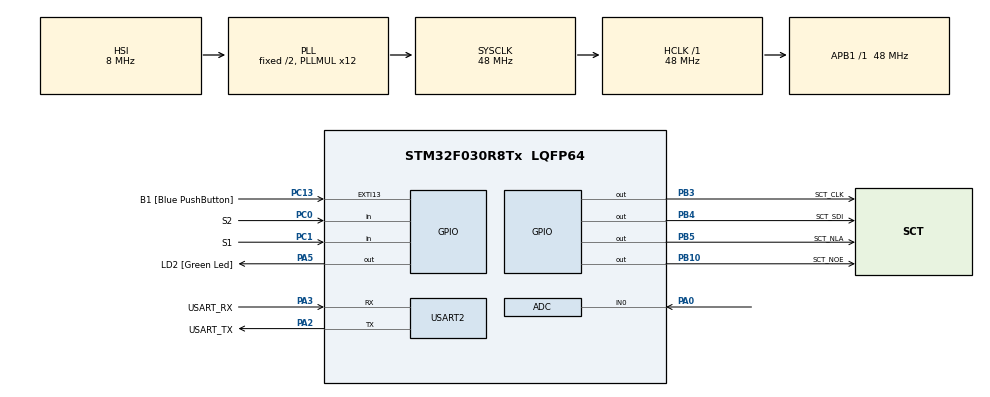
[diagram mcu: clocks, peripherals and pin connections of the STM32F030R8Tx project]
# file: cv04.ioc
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ADC.ContinuousConvMode=ENABLE
ADC.Overrun=ADC_OVR_DATA_OVERWRITTEN
ADC.SamplingTime=ADC_SAMPLETIME_239CYCLES_5
Mcu.Family=STM32F0
Mcu.Name=STM32F030R8Tx
Mcu.Package=LQFP64
NVIC.ADC1_IRQn=true\:0\:0\:false\:false\:true\:true\:true\:true
PA0.Mode=IN0
PA0.Signal=ADC_IN0
PA13.GPIO_Label=TMS
PA13.Mode=Serial_Wire
PA13.Signal=SYS_SWDIO
PA14.GPIO_Label=TCK
PA14.Mode=Serial_Wire
PA14.Signal=SYS_SWCLK
PA2.GPIO_Label=USART_TX
PA2.GPIO_Mode=GPIO_MODE_AF_PP
PA2.GPIO_PuPd=GPIO_NOPULL
PA2.GPIO_Speed=GPIO_SPEED_FREQ_LOW
PA2.Mode=Asynchronous
PA2.Signal=USART2_TX
PA3.GPIO_Label=USART_RX
PA3.GPIO_Mode=GPIO_MODE_AF_PP
PA3.GPIO_PuPd=GPIO_NOPULL
PA3.GPIO_Speed=GPIO_SPEED_FREQ_LOW
PA3.Mode=Asynchronous
PA3.Signal=USART2_RX
PA5.GPIO_Label=LD2 [Green Led]
PA5.GPIO_Mode=GPIO_MODE_OUTPUT_PP
PA5.GPIO_PuPd=GPIO_NOPULL
PA5.GPIO_Speed=GPIO_SPEED_FREQ_LOW
PA5.Signal=GPIO_Output
PB10.GPIO_Label=SCT_NOE
PB10.Signal=GPIO_Output
PB3.GPIO_Label=SCT_CLK
PB3.Signal=GPIO_Output
PB4.GPIO_Label=SCT_SDI
PB4.Signal=GPIO_Output
PB5.GPIO_Label=SCT_NLA
PB5.Signal=GPIO_Output
PC0.GPIO_Label=S2
PC0.GPIO_PuPd=GPIO_PULLUP
PC0.Signal=GPIO_Input
PC1.GPIO_Label=S1
PC1.GPIO_PuPd=GPIO_PULLUP
PC1.Signal=GPIO_Input
PC13.GPIO_Label=B1 [Blue PushButton]
PC13.GPIO_ModeDefaultEXTI=GPIO_MODE_IT_FALLING
PC13.Signal=GPXTI13
PC14-OSC32_IN.Mode=LSE-External-Oscillator
PC14-OSC32_IN.Signal=RCC_OSC32_IN
PC15-OSC32_OUT.Mode=LSE-External-Oscillator
PC15-OSC32_OUT.Signal=RCC_OSC32_OUT
PF0-OSC_IN.Mode=HSE-External-Clock-Source
PF0-OSC_IN.Signal=RCC_OSC_IN
PF1-OSC_OUT.Signal=RCC_OSC_OUT
ProjectManager.HeapSize=0x200
ProjectManager.StackSize=0x400
ProjectManager.TargetToolchain=STM32CubeIDE
RCC.AHBFreq_Value=48000000
RCC.APB1Freq_Value=48000000
RCC.APB1TimFreq_Value=48000000
RCC.HCLKFreq_Value=48000000
RCC.PLLMUL=RCC_PLL_MUL12
RCC.SYSCLKFreq_VALUE=48000000
RCC.SYSCLKSource=RCC_SYSCLKSOURCE_PLLCLK
USART2.VirtualMode-Asynchronous=VM_ASYNC
board=NUCLEO-F030R8

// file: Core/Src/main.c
/* USER CODE BEGIN Header */
/**
 ******************************************************************************
 * @file           : main.c
 * @brief          : Main program body
 ******************************************************************************
 * @attention
 *
 * Copyright (c) 2022 STMicroelectronics.
 * All rights reserved.
 *
 * This software is licensed under terms that can be found in the LICENSE file
 * in the root directory of this software component.
 * If no LICENSE file comes with this software, it is provided AS-IS.
 *
 ******************************************************************************
 */
/* USER CODE END Header */
#include "main.h"

/* USER CODE BEGIN Includes */
#include "sct.h"
/* USER CODE END Includes */

/* USER CODE BEGIN PD */
# define DISPLAY_PERIOD 50
# define TIMEOUT 1000
# define ADC_Q 12
/* Temperature sensor calibration value address */
#define TEMP110_CAL_ADDR ((uint16_t*) ((uint32_t) 0x1FFFF7C2))
#define TEMP30_CAL_ADDR ((uint16_t*) ((uint32_t) 0x1FFFF7B8))
/* Internal voltage reference calibration value address */
#define VREFINT_CAL_ADDR ((uint16_t*) ((uint32_t) 0x1FFFF7BA))
/* USER CODE END PD */

ADC_HandleTypeDef hadc;

UART_HandleTypeDef huart2;

/* USER CODE BEGIN PV */
static volatile uint32_t raw_pot;
static volatile uint32_t raw_temp;
static volatile uint32_t raw_volt;
/* USER CODE END PV */

void SystemClock_Config(void);
static void MX_GPIO_Init(void);
static void MX_USART2_UART_Init(void);
static void MX_ADC_Init(void);

/* USER CODE BEGIN 0 */
void HAL_ADC_ConvCpltCallback(ADC_HandleTypeDef* hadc)
{
	static uint32_t avg_pot;
	static uint32_t channel = 0;

	if(channel == 0){
		raw_pot = avg_pot >> ADC_Q;
		avg_pot -= raw_pot;
		avg_pot += HAL_ADC_GetValue(hadc);
	} else if(channel == 1){
		raw_temp = HAL_ADC_GetValue(hadc);
	} else {
		raw_volt = HAL_ADC_GetValue(hadc);
	}

	if (__HAL_ADC_GET_FLAG(hadc, ADC_FLAG_EOS)) channel = 0;
	else channel++;

}
/* USER CODE END 0 */

int main(void)
{

	/* MCU Configuration--------------------------------------------------------*/

	/* Reset of all peripherals, Initializes the Flash interface and the Systick. */
	HAL_Init();

	/* Configure the system clock */
	SystemClock_Config();

	/* Initialize all configured peripherals */
	MX_GPIO_Init();
	MX_USART2_UART_Init();
	MX_ADC_Init();
	/* USER CODE BEGIN 2 */
	HAL_ADCEx_Calibration_Start(&hadc);
	HAL_ADC_Start_IT(&hadc);
	sct_init();
	/* USER CODE END 2 */

	/* Infinite loop */
	/* USER CODE BEGIN WHILE */
	while (1)
	{
		static uint32_t DispInitTick = 0;
		static uint32_t StateInitTick = 0;
		static enum { SHOW_POT, SHOW_VOLT, SHOW_TEMP } state = SHOW_POT;

		if(state == SHOW_POT) {
			if(HAL_GetTick()>= DispInitTick + DISPLAY_PERIOD){
				DispInitTick = HAL_GetTick();
				sct_value(raw_pot * 501/4095, raw_pot * 8.5/4095);
			}
			if(!HAL_GPIO_ReadPin(S1_GPIO_Port, S1_Pin)){
				state = SHOW_TEMP;
				StateInitTick = HAL_GetTick();
			} else if(!HAL_GPIO_ReadPin(S2_GPIO_Port,S2_Pin)) {
				state = SHOW_VOLT;
				StateInitTick = HAL_GetTick();
			}
		} else if(state == SHOW_TEMP){
			if(HAL_GetTick()>= DispInitTick + DISPLAY_PERIOD){
				DispInitTick = HAL_GetTick();
				int32_t temperature = (raw_temp - (int32_t)(*TEMP30_CAL_ADDR));
				temperature = temperature * (int32_t)(110 - 30);
				temperature = temperature / (int32_t)(*TEMP110_CAL_ADDR - *TEMP30_CAL_ADDR);
				temperature = temperature + 30;
				sct_value(temperature, 0);
			}
			if(HAL_GetTick()>= StateInitTick + TIMEOUT){
				state = SHOW_POT;
			}

		} else if(state == SHOW_VOLT){
			if(HAL_GetTick()>= DispInitTick + DISPLAY_PERIOD){
				DispInitTick = HAL_GetTick();
				uint32_t voltage = 330 * (*VREFINT_CAL_ADDR) / raw_volt;
				sct_value(voltage, 0);
			}
			if(HAL_GetTick()>= StateInitTick + TIMEOUT){
				state = SHOW_POT;
			}
		}
		/* USER CODE END WHILE */

	}
}

void SystemClock_Config(void)
{
	RCC_OscInitTypeDef RCC_OscInitStruct = {0};
	RCC_ClkInitTypeDef RCC_ClkInitStruct = {0};

	/** Initializes the RCC Oscillators according to the specified parameters
	 * in the RCC_OscInitTypeDef structure.
	 */
	RCC_OscInitStruct.OscillatorType = RCC_OSCILLATORTYPE_HSI|RCC_OSCILLATORTYPE_HSI14;
	RCC_OscInitStruct.HSIState = RCC_HSI_ON;
	RCC_OscInitStruct.HSI14State = RCC_HSI14_ON;
	RCC_OscInitStruct.HSICalibrationValue = RCC_HSICALIBRATION_DEFAULT;
	RCC_OscInitStruct.HSI14CalibrationValue = 16;
	RCC_OscInitStruct.PLL.PLLState = RCC_PLL_ON;
	RCC_OscInitStruct.PLL.PLLSource = RCC_PLLSOURCE_HSI;
	RCC_OscInitStruct.PLL.PLLMUL = RCC_PLL_MUL12;
	RCC_OscInitStruct.PLL.PREDIV = RCC_PREDIV_DIV1;
	if (HAL_RCC_OscConfig(&RCC_OscInitStruct) != HAL_OK)
	{
		Error_Handler();
	}

	/** Initializes the CPU, AHB and APB buses clocks
	 */
	RCC_ClkInitStruct.ClockType = RCC_CLOCKTYPE_HCLK|RCC_CLOCKTYPE_SYSCLK
			|RCC_CLOCKTYPE_PCLK1;
	RCC_ClkInitStruct.SYSCLKSource = RCC_SYSCLKSOURCE_PLLCLK;
	RCC_ClkInitStruct.AHBCLKDivider = RCC_SYSCLK_DIV1;
	RCC_ClkInitStruct.APB1CLKDivider = RCC_HCLK_DIV1;

	if (HAL_RCC_ClockConfig(&RCC_ClkInitStruct, FLASH_LATENCY_1) != HAL_OK)
	{
		Error_Handler();
	}
}

static void MX_ADC_Init(void)
{

	ADC_ChannelConfTypeDef sConfig = {0};

	/** Configure the global features of the ADC (Clock, Resolution, Data Alignment and number of conversion)
	 */
	hadc.Instance = ADC1;
	hadc.Init.ClockPrescaler = ADC_CLOCK_ASYNC_DIV1;
	hadc.Init.Resolution = ADC_RESOLUTION_12B;
	hadc.Init.DataAlign = ADC_DATAALIGN_RIGHT;
	hadc.Init.ScanConvMode = ADC_SCAN_DIRECTION_FORWARD;
	hadc.Init.EOCSelection = ADC_EOC_SINGLE_CONV;
	hadc.Init.LowPowerAutoWait = DISABLE;
	hadc.Init.LowPowerAutoPowerOff = DISABLE;
	hadc.Init.ContinuousConvMode = ENABLE;
	hadc.Init.DiscontinuousConvMode = DISABLE;
	hadc.Init.ExternalTrigConv = ADC_SOFTWARE_START;
	hadc.Init.ExternalTrigConvEdge = ADC_EXTERNALTRIGCONVEDGE_NONE;
	hadc.Init.DMAContinuousRequests = DISABLE;
	hadc.Init.Overrun = ADC_OVR_DATA_OVERWRITTEN;
	if (HAL_ADC_Init(&hadc) != HAL_OK)
	{
		Error_Handler();
	}

	/** Configure for the selected ADC regular channel to be converted.
	 */
	sConfig.Channel = ADC_CHANNEL_0;
	sConfig.Rank = ADC_RANK_CHANNEL_NUMBER;
	sConfig.SamplingTime = ADC_SAMPLETIME_239CYCLES_5;
	if (HAL_ADC_ConfigChannel(&hadc, &sConfig) != HAL_OK)
	{
		Error_Handler();
	}

	/** Configure for the selected ADC regular channel to be converted.
	 */
	sConfig.Channel = ADC_CHANNEL_TEMPSENSOR;
	if (HAL_ADC_ConfigChannel(&hadc, &sConfig) != HAL_OK)
	{
		Error_Handler();
	}

	/** Configure for the selected ADC regular channel to be converted.
	 */
	sConfig.Channel = ADC_CHANNEL_VREFINT;
	if (HAL_ADC_ConfigChannel(&hadc, &sConfig) != HAL_OK)
	{
		Error_Handler();
	}

}

static void MX_USART2_UART_Init(void)
{

	huart2.Instance = USART2;
	huart2.Init.BaudRate = 38400;
	huart2.Init.WordLength = UART_WORDLENGTH_8B;
	huart2.Init.StopBits = UART_STOPBITS_1;
	huart2.Init.Parity = UART_PARITY_NONE;
	huart2.Init.Mode = UART_MODE_TX_RX;
	huart2.Init.HwFlowCtl = UART_HWCONTROL_NONE;
	huart2.Init.OverSampling = UART_OVERSAMPLING_16;
	huart2.Init.OneBitSampling = UART_ONE_BIT_SAMPLE_DISABLE;
	huart2.AdvancedInit.AdvFeatureInit = UART_ADVFEATURE_NO_INIT;
	if (HAL_UART_Init(&huart2) != HAL_OK)
	{
		Error_Handler();
	}

}

static void MX_GPIO_Init(void)
{
	GPIO_InitTypeDef GPIO_InitStruct = {0};

	/* GPIO Ports Clock Enable */
	__HAL_RCC_GPIOC_CLK_ENABLE();
	__HAL_RCC_GPIOF_CLK_ENABLE();
	__HAL_RCC_GPIOA_CLK_ENABLE();
	__HAL_RCC_GPIOB_CLK_ENABLE();

	/*Configure GPIO pin Output Level */
	HAL_GPIO_WritePin(GPIOA, GPIO_PIN_5, GPIO_PIN_RESET);

	/*Configure GPIO pin Output Level */
	HAL_GPIO_WritePin(GPIOB, GPIO_PIN_10|GPIO_PIN_3|GPIO_PIN_4|GPIO_PIN_5, GPIO_PIN_RESET);

	/*Configure GPIO pin : PC13 */
	GPIO_InitStruct.Pin = GPIO_PIN_13;
	GPIO_InitStruct.Mode = GPIO_MODE_IT_FALLING;
	GPIO_InitStruct.Pull = GPIO_NOPULL;
	HAL_GPIO_Init(GPIOC, &GPIO_InitStruct);

	/*Configure GPIO pins : PC0 PC1 */
	GPIO_InitStruct.Pin = GPIO_PIN_0|GPIO_PIN_1;
	GPIO_InitStruct.Mode = GPIO_MODE_INPUT;
	GPIO_InitStruct.Pull = GPIO_PULLUP;
	HAL_GPIO_Init(GPIOC, &GPIO_InitStruct);

	/*Configure GPIO pin : PA5 */
	GPIO_InitStruct.Pin = GPIO_PIN_5;
	GPIO_InitStruct.Mode = GPIO_MODE_OUTPUT_PP;
	GPIO_InitStruct.Pull = GPIO_NOPULL;
	GPIO_InitStruct.Speed = GPIO_SPEED_FREQ_LOW;
	HAL_GPIO_Init(GPIOA, &GPIO_InitStruct);

	/*Configure GPIO pins : PB10 PB3 PB4 PB5 */
	GPIO_InitStruct.Pin = GPIO_PIN_10|GPIO_PIN_3|GPIO_PIN_4|GPIO_PIN_5;
	GPIO_InitStruct.Mode = GPIO_MODE_OUTPUT_PP;
	GPIO_InitStruct.Pull = GPIO_NOPULL;
	GPIO_InitStruct.Speed = GPIO_SPEED_FREQ_LOW;
	HAL_GPIO_Init(GPIOB, &GPIO_InitStruct);

}

void Error_Handler(void)
{
	__disable_irq();
	while (1)
	{
	}
}
